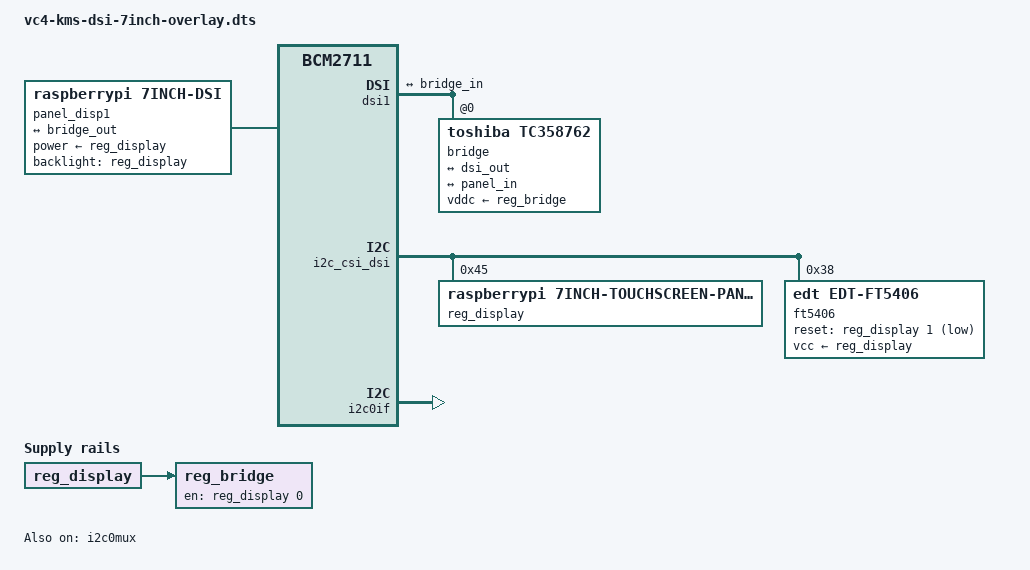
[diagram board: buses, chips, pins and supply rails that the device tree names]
/*
 * Device Tree overlay for RaspberryPi 7" Touchscreen panel
 *
 * This is taken from the raspberry pi kernel:
 * https://github.com/raspberrypi/linux/blob/bad3872df40dd9a4ba7ff239c17288a7a84a80f9/arch/arm/boot/dts/overlays/vc4-kms-dsi-7inch-overlay.dts
 *
 * The only change has been to manually merge in the included `edt-ft5406.dtsi`
 * file, and change `compatible` to "brcm,bcm2711".
 */

/dts-v1/;
/plugin/;

/ {
  compatible = "brcm,bcm2711";

  fragment@0 {
    target = <&dsi1>;
    __overlay__ {
      #address-cells = <1>;
      #size-cells = <0>;
      status = "okay";
      port {
        dsi_out: endpoint {
          remote-endpoint = <&bridge_in>;
        };
      };
      bridge@0 {
        reg = <0>;
        compatible = "toshiba,tc358762";
        vddc-supply = <&reg_bridge>;
        ports {
          #address-cells = <1>;
          #size-cells = <0>;

          port@0 {
            reg = <0>;
            bridge_in: endpoint {
              remote-endpoint = <&dsi_out>;
            };
          };

          port@1 {
            reg = <1>;
            bridge_out: endpoint {
              remote-endpoint = <&panel_in>;
            };
          };
        };
      };
    };
  };

  fragment@1 {
    target-path = "/";
    __overlay__ {
      panel_disp1: panel_disp1@0 {
        reg = <0>;
        compatible = "raspberrypi,7inch-dsi", "simple-panel";
        backlight = <&reg_display>;
        power-supply = <&reg_display>;

        port {
          panel_in: endpoint {
            remote-endpoint = <&bridge_out>;
          };
        };
      };

      reg_bridge: reg_bridge@0 {
        reg = <0>;
        compatible = "regulator-fixed";
        regulator-name = "bridge_reg";
        gpio = <&reg_display 0 0>;
        vin-supply = <&reg_display>;
        enable-active-high;
      };
    };
  };

  fragment@2 {
    target = <&i2c_csi_dsi>;
    __overlay__ {
      #address-cells = <1>;
      #size-cells = <0>;
      status = "okay";

      reg_display: reg_display@45 {
        compatible = "raspberrypi,7inch-touchscreen-panel-regulator";
        reg = <0x45>;
        gpio-controller;
        #gpio-cells = <2>;
      };
    };
  };

  fragment@3 {
    target = <&i2c0if>;
    __overlay__ {
      status = "okay";
    };
  };

  fragment@4 {
    target = <&i2c0mux>;
    __overlay__ {
      status = "okay";
    };
  };

  fragment@5 {
    target = <&ft5406>;
    __overlay__ {
      vcc-supply = <&reg_display>;
      reset-gpio = <&reg_display 1 1>;
    };
  };

  fragment@10 {
    target = <&ft5406>;
    __overlay__ {
      touchscreen-inverted-x;
    };
  };

  fragment@11 {
    target = <&ft5406>;
    __overlay__ {
      touchscreen-inverted-y;
    };
  };

  fragment@12 {
    target = <&i2c_csi_dsi>;
    __overlay__ {
      #address-cells = <1>;
      #size-cells = <0>;
      status = "okay";
      ft5406: ts@38 {
        compatible = "edt,edt-ft5406";
        reg = <0x38>;

        touchscreen-size-x = < 800 >;
        touchscreen-size-y = < 480 >;
      };
    };
  };

  fragment@13 {
    target = <&i2c0if>;
    __overlay__ {
      status = "okay";
    };
  };

  __overrides__ {
    sizex = <&ft5406>,"touchscreen-size-x:0";
    sizey = <&ft5406>,"touchscreen-size-y:0";
    invx = <0>, "-10";
    invy = <0>, "-11";
    swapxy = <&ft5406>,"touchscreen-swapped-x-y?";
    disable_touch = <0>, "-10-11-12-13";
  };
};
